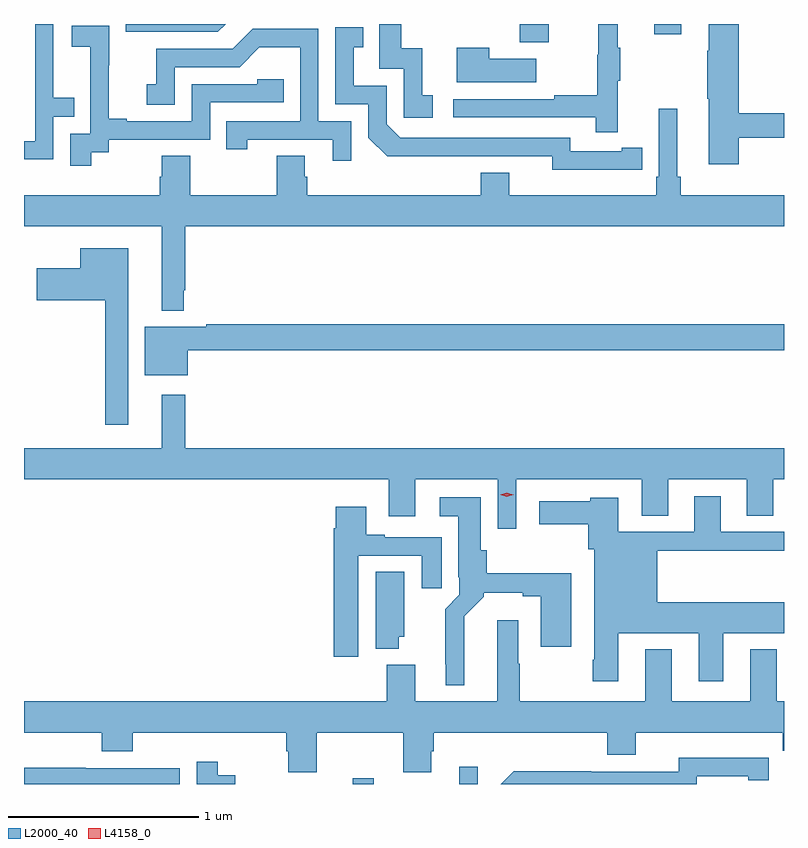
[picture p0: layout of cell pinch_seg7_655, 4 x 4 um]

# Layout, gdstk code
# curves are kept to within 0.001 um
import gdstk
lib = gdstk.Library(unit=1e-6, precision=1e-09)
def R(c, l, rs):  # rectangles x0, y0, x1, y1
    for r in rs: c.add(gdstk.rectangle(r[:2], r[2:], *l))
def P(c, l, *ps):  # polygons
    for p in ps: c.add(gdstk.Polygon(p, *l))
L2000_40 = (2000, 40)
L4158_0 = (4158, 0)

pinch_seg7_655 = lib.new_cell('pinch_seg7_655')
R(pinch_seg7_655, L2000_40, [(338.179,999.013,338.29,999.043), (338.741,999.013,338.838,999.103), (339.059,1002.918,339.211,1003.013), (339.767,1002.96,339.907,1003.013)])
P(pinch_seg7_655, L2000_40, [(338.599,1002.639),(338.546,1002.639),(338.546,1002.886),(338.435,1002.886),(338.435,1003.013),(338.319,1003.013),(338.319,1002.777),(338.448,1002.777),(338.448,1002.519),(338.599,1002.519)],
  [(337.511,1003.013),(336.984,1003.013),(336.984,1002.972),(337.47,1002.972)],
  [(336.603,1002.525),(336.713,1002.525),(336.713,1002.626),(336.603,1002.626),(336.603,1003.013),(336.507,1003.013),(336.507,1002.396),(336.449,1002.396),(336.449,1002.3),(336.603,1002.3)],
  [(340.211,1002.414),(340.449,1002.414),(340.449,1002.542),(340.211,1002.542),(340.211,1003.013),(340.052,1003.013),(340.052,1002.872),(340.045,1002.872),(340.045,1002.619),(340.052,1002.619),(340.052,1002.276),(340.211,1002.276)],
  [(339.575,1002.715),(339.586,1002.715),(339.586,1002.889),(339.575,1002.889),(339.575,1003.013),(339.472,1003.013),(339.472,1002.852),(339.465,1002.852),(339.465,1002.638),(339.241,1002.638),(339.241,1002.618),(338.709,1002.618),(338.709,1002.522),(339.457,1002.522),(339.457,1002.444),(339.575,1002.444)],
  [(336.802,1002.337),(336.894,1002.337),(336.894,1002.405),(337.428,1002.405),(337.428,1002.6),(337.817,1002.6),(337.817,1002.723),(337.677,1002.723),(337.677,1002.696),(337.332,1002.696),(337.332,1002.501),(336.991,1002.501),(336.991,1002.514),(336.896,1002.514),(336.896,1002.797),(336.897,1002.797),(336.897,1003.003),(336.699,1003.003),(336.699,1002.893),(336.797,1002.893),(336.797,1002.665),(336.798,1002.665),(336.798,1002.435),(336.693,1002.435),(336.693,1002.267),(336.802,1002.267)],
  [(339.596,1002.246),(339.704,1002.246),(339.704,1002.362),(339.596,1002.362),(339.596,1002.342),(339.324,1002.342),(339.324,1002.414),(338.43,1002.414),(338.358,1002.486),(338.358,1002.687),(338.185,1002.687),(338.185,1002.891),(338.234,1002.891),(338.234,1002.997),(338.088,1002.997),(338.088,1002.591),(338.262,1002.591),(338.262,1002.414),(338.36,1002.317),(339.228,1002.318),(339.228,1002.245)],
  [(338.172,1002.501),(337.998,1002.501),(337.998,1002.987),(337.652,1002.987),(337.547,1002.882),(337.144,1002.882),(337.144,1002.697),(337.095,1002.697),(337.095,1002.588),(337.242,1002.588),(337.242,1002.786),(337.584,1002.786),(337.688,1002.89),(337.902,1002.89),(337.902,1002.501),(337.513,1002.501),(337.513,1002.354),(337.624,1002.354),(337.624,1002.405),(338.075,1002.405),(338.075,1002.294),(338.172,1002.294)],
  [(339.145,1002.829),(338.897,1002.829),(338.897,1002.889),(338.726,1002.889),(338.726,1002.707),(339.145,1002.707)],
  [(337.29,1001.611),(337.297,1001.611),(337.297,1001.948),(340.449,1001.948),(340.449,1002.112),(339.905,1002.112),(339.905,1002.208),(339.886,1002.208),(339.886,1002.568),(339.789,1002.568),(339.789,1002.208),(339.776,1002.208),(339.776,1002.112),(339.004,1002.112),(339.004,1002.229),(338.852,1002.229),(338.852,1002.112),(337.94,1002.112),(337.94,1002.21),(337.927,1002.21),(337.927,1002.32),(337.78,1002.32),(337.78,1002.112),(337.323,1002.112),(337.323,1002.32),(337.175,1002.32),(337.175,1002.21),(337.163,1002.21),(337.163,1002.112),(336.449,1002.112),(336.449,1001.948),(337.175,1001.948),(337.175,1001.504),(337.29,1001.504)],
  [(336.997,1001.833),(336.746,1001.833),(336.746,1001.728),(336.516,1001.728),(336.516,1001.558),(336.876,1001.558),(336.876,1000.905),(336.997,1000.905)],
  [(337.312,1001.296),(340.449,1001.296),(340.449,1001.432),(337.408,1001.432),(337.408,1001.419),(337.085,1001.419),(337.085,1001.165),(337.312,1001.165)],
  [(339.039,1000.616),(339.701,1000.616),(339.701,1000.426),(339.841,1000.426),(339.841,1000.616),(340.253,1000.616),(340.253,1000.426),(340.393,1000.426),(340.393,1000.616),(340.449,1000.616),(340.449,1000.78),(337.297,1000.78),(337.297,1001.062),(337.175,1001.062),(337.175,1000.78),(336.449,1000.78),(336.449,1000.616),(338.369,1000.616),(338.369,1000.422),(338.509,1000.422),(338.509,1000.616),(338.943,1000.616),(338.943,1000.356),(339.039,1000.356)],
  [(339.577,999.806),(340.001,999.806),(340.001,999.555),(340.129,999.555),(340.129,999.806),(340.449,999.806),(340.449,999.97),(339.781,999.97),(339.781,1000.24),(340.449,1000.24),(340.449,1000.341),(340.117,1000.341),(340.117,1000.528),(339.977,1000.528),(339.977,1000.341),(339.577,1000.341),(339.577,1000.519),(339.429,1000.519),(339.429,1000.501),(339.162,1000.501),(339.162,1000.379),(339.418,1000.379),(339.418,1000.248),(339.449,1000.248),(339.449,999.667),(339.442,999.667),(339.442,999.555),(339.577,999.555)],
  [(338.767,999.896),(338.868,999.998),(338.868,1000.019),(339.074,1000.019),(339.074,1000),(339.17,1000),(339.17,999.735),(339.328,999.735),(339.328,1000.121),(338.885,1000.121),(338.885,1000.242),(338.854,1000.242),(338.854,1000.522),(338.637,1000.522),(338.637,1000.421),(338.735,1000.421),(338.735,1000.102),(338.739,1000.102),(338.739,1000.008),(338.665,999.934),(338.665,999.643),(338.669,999.643),(338.669,999.533),(338.767,999.533)],
  [(338.209,1000.215),(338.543,1000.215),(338.543,1000.044),(338.647,1000.044),(338.647,1000.311),(338.347,1000.311),(338.347,1000.324),(338.251,1000.324),(338.251,1000.471),(338.09,1000.471),(338.09,1000.358),(338.078,1000.358),(338.078,999.684),(338.209,999.684)],
  [(338.422,999.789),(338.449,999.789),(338.449,1000.13),(338.3,1000.13),(338.3,999.725),(338.422,999.725)],
  [(337.989,999.284),(338.446,999.284),(338.446,999.076),(338.593,999.076),(338.593,999.186),(338.606,999.186),(338.606,999.284),(339.518,999.284),(339.518,999.167),(339.67,999.167),(339.67,999.284),(340.442,999.284),(340.442,999.188),(340.449,999.188),(340.449,999.448),(340.411,999.448),(340.411,999.721),(340.271,999.721),(340.271,999.448),(339.859,999.448),(339.859,999.721),(339.719,999.721),(339.719,999.448),(339.057,999.448),(339.057,999.647),(339.049,999.647),(339.049,999.874),(338.939,999.874),(338.939,999.448),(338.509,999.448),(338.509,999.64),(338.357,999.64),(338.357,999.448),(336.449,999.448),(336.449,999.284),(336.857,999.284),(336.857,999.185),(337.022,999.185),(337.022,999.284),(337.829,999.284),(337.829,999.186),(337.841,999.186),(337.841,999.076),(337.989,999.076)],
  [(339.99,999.054),(340.262,999.054),(340.262,999.034),(340.37,999.034),(340.37,999.15),(339.894,999.151),(339.894,999.078),(339.434,999.078),(339.434,999.08),(339.026,999.08),(338.959,999.013),(339.99,999.013)],
  [(337.56,999.06),(337.468,999.06),(337.468,999.13),(337.359,999.13),(337.359,999.013),(337.56,999.013)],
  [(337.269,999.096),(336.773,999.096),(336.773,999.098),(336.449,999.098),(336.449,999.013),(337.269,999.013)])
P(pinch_seg7_655, L4158_0, [(338.99,1000.525),(338.955,1000.535),(338.955,1000.535),(338.955,1000.535),(338.99,1000.545),(339.025,1000.535),(339.026,1000.535),(339.025,1000.535)])

lib.write_gds('pinch_seg7_655.gds')
